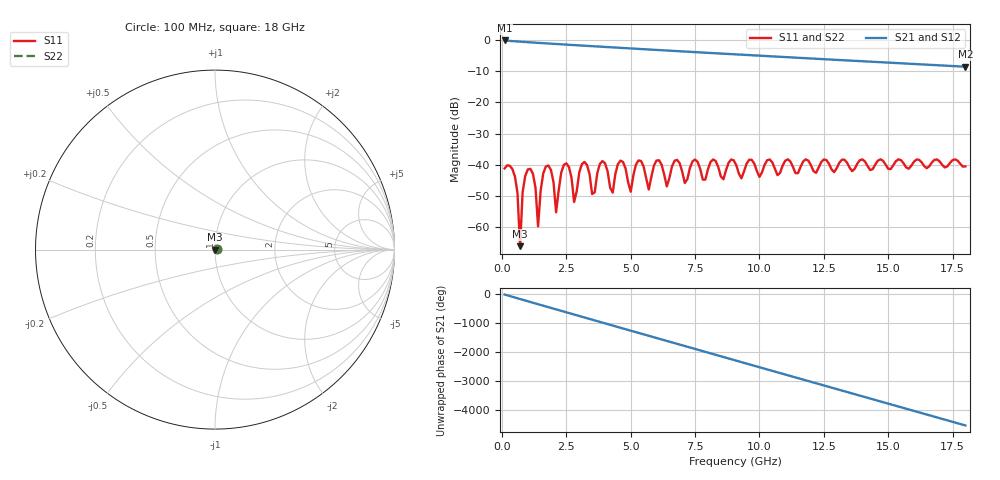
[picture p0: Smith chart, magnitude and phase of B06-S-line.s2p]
! yapnr rf coupon B: B06 S L100 (line, family S)
! stackup JLC06161H-7628, nominal parameters; reference planes 10 mm from each end; 50 ohm (renormalized from the line's Zc)
! model: 2D quasi-static RLGC (Djordjevic-Sarkar, Huray roughness, Wheeler loss); generated by python -m yapnr.rf.coupons expected
# GHz S DB R 50
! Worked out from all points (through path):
!   180 points, 100 MHz to 18 GHz, reference 50 ohm
!   highest |S21| = -0.14 dB at 100 MHz (marker M1); lowest = -8.6 dB at 18 GHz (marker M2)
!   group delay of S21, straight-line fit = 696 ps
!   lowest |S11| = -66.1 dB at 700 MHz (marker M3), VSWR 1.00, Z = 50 - j0.00576 ohm
!   |S11| at or under -10 dB: start of sweep to end of sweep
!   |S22| runs from -66.1 to -38.3 dB; largest |S21 - S12| = 0
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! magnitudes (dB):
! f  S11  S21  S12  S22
! 100 MHz  -41.2  -0.1  -0.1  -41.2
! 500 MHz  -43.7  -0.4  -0.4  -43.7
! 700 MHz  -66.1  -0.5  -0.5  -66.1
! 800 MHz  -48.8  -0.6  -0.6  -48.8
! 1 GHz  -41.5  -0.7  -0.7  -41.5
! 1.4 GHz  -59.8  -0.9  -0.9  -59.8
! 1.7 GHz  -40.6  -1.1  -1.1  -40.6
! 2.1 GHz  -55.2  -1.3  -1.3  -55.2
! 2.4 GHz  -40.1  -1.4  -1.4  -40.1
! 2.8 GHz  -51.9  -1.6  -1.6  -51.9
! 3.1 GHz  -39.8  -1.8  -1.8  -39.8
! 3.5 GHz  -49.4  -2.0  -2.0  -49.4
! 3.9 GHz  -38.8  -2.2  -2.2  -38.8
! 4.3 GHz  -49.0  -2.4  -2.4  -49.0
! 4.6 GHz  -38.7  -2.5  -2.5  -38.7
! 5 GHz  -48.6  -2.7  -2.7  -48.6
! 6.1 GHz  -38.6  -3.2  -3.2  -38.6
! 6.4 GHz  -46.9  -3.4  -3.4  -46.9
! 9.1 GHz  -40.1  -4.6  -4.6  -40.1
! 12.1 GHz  -42.1  -6.0  -6.0  -42.1
! 15.1 GHz  -41.4  -7.3  -7.3  -41.4
! 18 GHz  -40.5  -8.6  -8.6  -40.5
